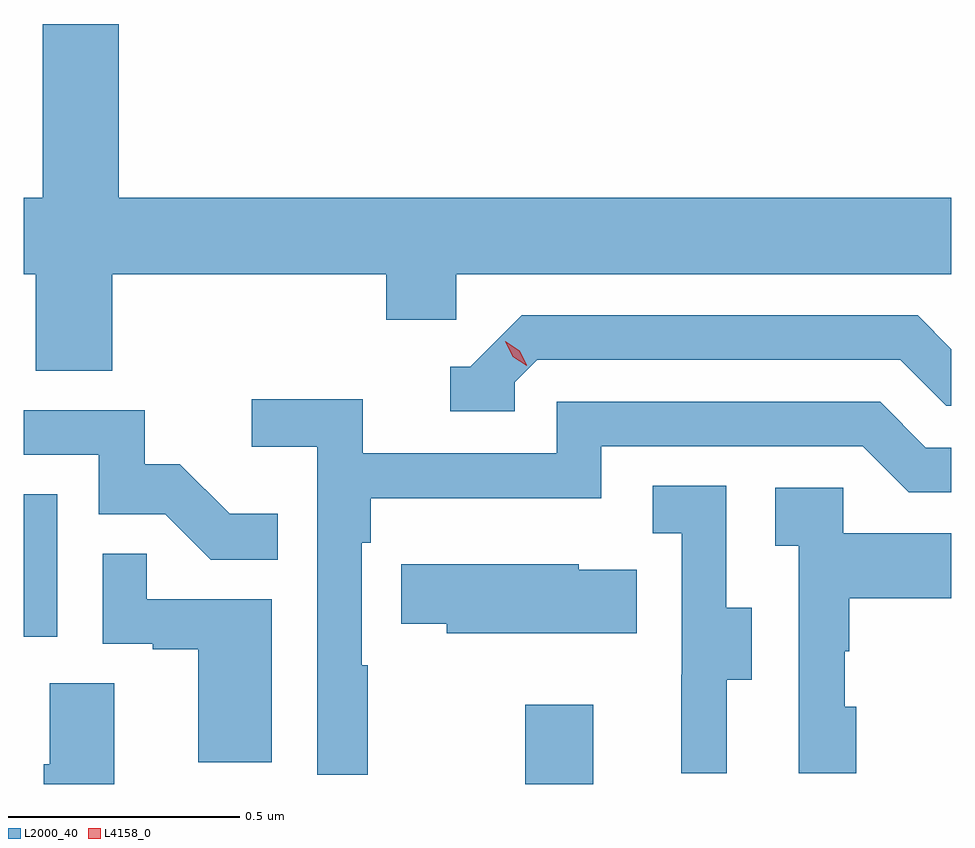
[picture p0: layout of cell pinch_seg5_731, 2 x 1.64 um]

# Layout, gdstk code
import gdstk
lib = gdstk.Library(unit=1e-6, precision=1e-09)
def R(c, l, rs):  # rectangles x0, y0, x1, y1
    for r in rs: c.add(gdstk.rectangle(r[:2], r[2:], *l))
def P(c, l, *ps):  # polygons
    for p in ps: c.add(gdstk.Polygon(p, *l))
L2000_40 = (2000, 40)
L4158_0 = (4158, 0)

pinch_seg5_731 = lib.new_cell('pinch_seg5_731')
R(pinch_seg5_731, L2000_40, [(1143.07,851.665,1143.217,851.836), (1141.989,851.982,1142.062,852.289)])
P(pinch_seg5_731, L2000_40, [(1142.18,852.764),(1142.771,852.764),(1142.771,852.666),(1142.922,852.666),(1142.922,852.764),(1143.989,852.764),(1143.989,852.928),(1142.194,852.928),(1142.194,853.303),(1142.03,853.303),(1142.03,852.928),(1141.989,852.928),(1141.989,852.764),(1142.015,852.764),(1142.015,852.556),(1142.18,852.556)],
  [(1143.048,852.531),(1143.096,852.579),(1143.879,852.579),(1143.978,852.48),(1143.989,852.48),(1143.989,852.602),(1143.916,852.675),(1143.063,852.675),(1142.952,852.564),(1142.909,852.564),(1142.909,852.468),(1143.048,852.468)],
  [(1142.731,851.921),(1142.718,851.921),(1142.718,852.185),(1142.737,852.185),(1142.737,852.281),(1143.234,852.281),(1143.234,852.393),(1143.798,852.393),(1143.897,852.294),(1143.989,852.294),(1143.989,852.39),(1143.934,852.39),(1143.835,852.489),(1143.138,852.489),(1143.138,852.378),(1142.72,852.378),(1142.72,852.494),(1142.481,852.494),(1142.481,852.392),(1142.622,852.392),(1142.622,851.685),(1142.731,851.685)],
  [(1142.537,852.247),(1142.433,852.247),(1142.326,852.354),(1142.25,852.354),(1142.25,852.471),(1141.989,852.471),(1141.989,852.375),(1142.151,852.375),(1142.151,852.246),(1142.295,852.246),(1142.393,852.148),(1142.537,852.148)],
  [(1143.505,851.89),(1143.559,851.89),(1143.559,852.045),(1143.504,852.045),(1143.504,852.308),(1143.345,852.308),(1143.345,852.205),(1143.408,852.205),(1143.408,851.901),(1143.407,851.901),(1143.407,851.688),(1143.505,851.688)],
  [(1143.784,851.832),(1143.759,851.832),(1143.759,851.951),(1143.769,851.951),(1143.769,852.065),(1143.989,852.065),(1143.989,852.205),(1143.756,852.205),(1143.756,852.303),(1143.609,852.303),(1143.609,852.179),(1143.66,852.179),(1143.66,851.688),(1143.784,851.688)],
  [(1142.524,852.063),(1142.255,852.063),(1142.255,852.161),(1142.16,852.161),(1142.16,851.967),(1142.267,851.967),(1142.267,851.955),(1142.366,851.955),(1142.366,851.712),(1142.524,851.712)],
  [(1143.311,852.127),(1143.186,852.127),(1143.186,852.139),(1142.803,852.139),(1142.803,852.01),(1142.901,852.01),(1142.901,851.99),(1143.311,851.99)],
  [(1142.185,851.882),(1142.045,851.882),(1142.045,851.708),(1142.033,851.708),(1142.033,851.665),(1142.185,851.665)])
P(pinch_seg5_731, L4158_0, [(1143.074,852.566),(1143.043,852.586),(1143.027,852.619),(1143.027,852.619),(1143.027,852.619),(1143.058,852.599),(1143.074,852.567),(1143.074,852.566)])

lib.write_gds('pinch_seg5_731.gds')
